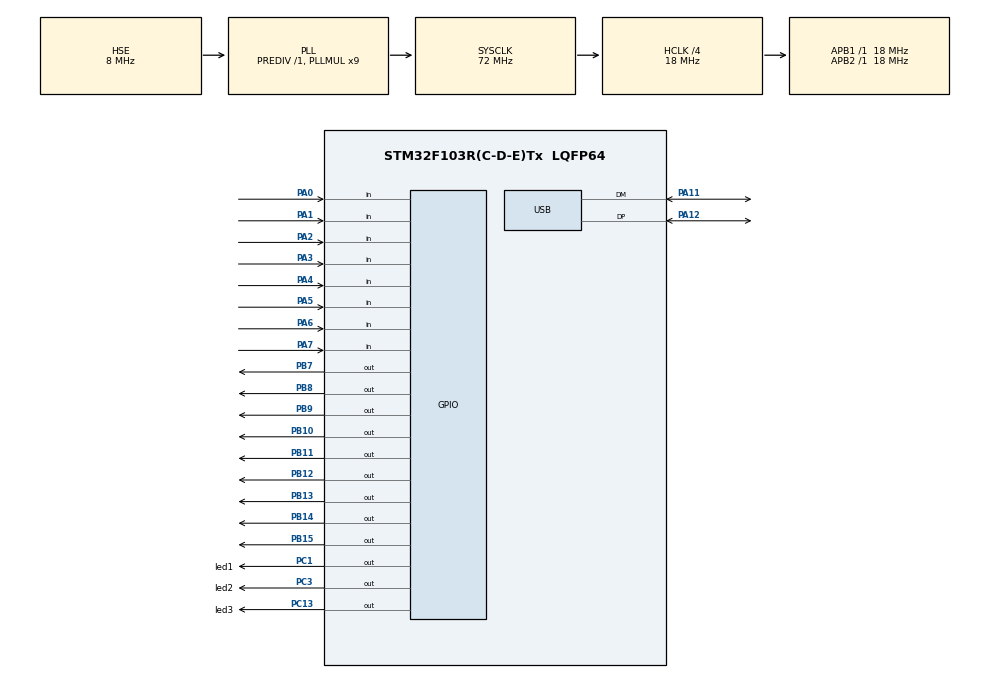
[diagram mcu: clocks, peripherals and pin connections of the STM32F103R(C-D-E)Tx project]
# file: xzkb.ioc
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Mcu.Family=STM32F1
Mcu.Name=STM32F103R(C-D-E)Tx
Mcu.Package=LQFP64
NVIC.PriorityGroup=NVIC_PRIORITYGROUP_4
NVIC.USB_LP_CAN1_RX0_IRQn=true\:0\:0\:false\:false\:true\:false\:true
PA0-WKUP.GPIO_PuPd=GPIO_PULLUP
PA0-WKUP.Signal=GPIO_Input
PA1.GPIO_PuPd=GPIO_PULLUP
PA1.Signal=GPIO_Input
PA11.Mode=Device
PA11.Signal=USB_DM
PA12.Mode=Device
PA12.Signal=USB_DP
PA13.Mode=Serial_Wire
PA13.Signal=SYS_JTMS-SWDIO
PA14.Mode=Serial_Wire
PA14.Signal=SYS_JTCK-SWCLK
PA2.GPIO_PuPd=GPIO_PULLUP
PA2.Signal=GPIO_Input
PA3.GPIO_PuPd=GPIO_PULLUP
PA3.Signal=GPIO_Input
PA4.GPIO_PuPd=GPIO_PULLUP
PA4.Signal=GPIO_Input
PA5.GPIO_PuPd=GPIO_PULLUP
PA5.Signal=GPIO_Input
PA6.GPIO_PuPd=GPIO_PULLUP
PA6.Signal=GPIO_Input
PA7.GPIO_PuPd=GPIO_PULLUP
PA7.Signal=GPIO_Input
PB10.Signal=GPIO_Output
PB11.Signal=GPIO_Output
PB12.Signal=GPIO_Output
PB13.Signal=GPIO_Output
PB14.Signal=GPIO_Output
PB15.Signal=GPIO_Output
PB7.Signal=GPIO_Output
PB8.Signal=GPIO_Output
PB9.Signal=GPIO_Output
PC1.GPIO_Label=led1
PC1.Signal=GPIO_Output
PC13-TAMPER-RTC.GPIO_Label=led3
PC13-TAMPER-RTC.Signal=GPIO_Output
PC3.GPIO_Label=led2
PC3.Signal=GPIO_Output
PD0-OSC_IN.Mode=HSE-External-Oscillator
PD0-OSC_IN.Signal=RCC_OSC_IN
PD1-OSC_OUT.Mode=HSE-External-Oscillator
PD1-OSC_OUT.Signal=RCC_OSC_OUT
ProjectManager.HeapSize=0x200
ProjectManager.StackSize=0x400
ProjectManager.TargetToolchain=STM32CubeIDE
RCC.AHBCLKDivider=RCC_SYSCLK_DIV4
RCC.AHBFreq_Value=18000000
RCC.APB1Freq_Value=18000000
RCC.APB1TimFreq_Value=18000000
RCC.APB2Freq_Value=18000000
RCC.APB2TimFreq_Value=18000000
RCC.HCLKFreq_Value=18000000
RCC.HSICalibrationValue=8
RCC.PLLMUL=RCC_PLL_MUL9
RCC.SYSCLKFreq_VALUE=72000000
RCC.SYSCLKSource=RCC_SYSCLKSOURCE_PLLCLK
RCC.USBFreq_Value=48000000
RCC.USBPrescaler=RCC_USBCLKSOURCE_PLL_DIV1_5
USB_DEVICE.CLASS_NAME_FS=HID
USB_DEVICE.MANUFACTURER_STRING=thelxz@163.com
USB_DEVICE.PRODUCT_STRING_HID_FS=XZ Keyboard
USB_DEVICE.VID=1155
USB_DEVICE.VirtualMode=Hid
USB_DEVICE.VirtualModeFS=Hid_FS
VP_USB_DEVICE_VS_USB_DEVICE_HID_FS.Mode=HID_FS
board=custom

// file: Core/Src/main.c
/* USER CODE BEGIN Header */
/**
  ******************************************************************************
  * @file           : main.c
  * @brief          : Main program body
  ******************************************************************************
  * @attention
  *
  * <h2><center>&copy; Copyright (c) 2020 STMicroelectronics.
  * All rights reserved.</center></h2>
  *
  * This software component is licensed by ST under Ultimate Liberty license
  * SLA0044, the "License"; You may not use this file except in compliance with
  * the License. You may obtain a copy of the License at:
  *                             www.st.com/SLA0044
  *
  ******************************************************************************
  */
/* USER CODE END Header */

#include "main.h"
#include "usb_device.h"

/* USER CODE BEGIN Includes */
#include "usbd_hid.h"
#include "keyboard.h"
/* USER CODE END Includes */

void SystemClock_Config(void);
static void MX_GPIO_Init(void);

/* USER CODE BEGIN 0 */
void HAL_Delay(uint32_t Delay)
{
  uint32_t tickstart = HAL_GetTick();
  uint32_t wait = Delay;

  /* Add a freq to guarantee minimum wait */
  if (wait < HAL_MAX_DELAY)
  {
    wait += (uint32_t)(uwTickFreq);
  }

  while ((HAL_GetTick() - tickstart) < wait)
  {
	  HAL_PWR_EnterSLEEPMode(PWR_MAINREGULATOR_ON, PWR_SLEEPENTRY_WFI);
  }
}
/* USER CODE END 0 */

int main(void)
{

  /* MCU Configuration--------------------------------------------------------*/

  /* Reset of all peripherals, Initializes the Flash interface and the Systick. */
  HAL_Init();

  /* Configure the system clock */
  SystemClock_Config();

  /* Initialize all configured peripherals */
  MX_GPIO_Init();
  MX_USB_DEVICE_Init();
  /* USER CODE BEGIN 2 */
  uint8_t reportLen = 8;
  uint8_t reportBuf[8] = {0};
  KeyState keystate;
  /* USER CODE END 2 */

  /* Infinite loop */
  while (1)
  {

    /* USER CODE BEGIN 3 */
	ScanKeyState(&keystate);
	GenReport(&keystate, reportBuf);
	USBD_HID_SendReport(&hUsbDeviceFS, reportBuf, reportLen);
	HAL_Delay(10);
  }
  /* USER CODE END 3 */
}

void SystemClock_Config(void)
{
  RCC_OscInitTypeDef RCC_OscInitStruct = {0};
  RCC_ClkInitTypeDef RCC_ClkInitStruct = {0};
  RCC_PeriphCLKInitTypeDef PeriphClkInit = {0};

  /** Initializes the CPU, AHB and APB busses clocks
  */
  RCC_OscInitStruct.OscillatorType = RCC_OSCILLATORTYPE_HSE;
  RCC_OscInitStruct.HSEState = RCC_HSE_ON;
  RCC_OscInitStruct.HSEPredivValue = RCC_HSE_PREDIV_DIV1;
  RCC_OscInitStruct.HSIState = RCC_HSI_ON;
  RCC_OscInitStruct.PLL.PLLState = RCC_PLL_ON;
  RCC_OscInitStruct.PLL.PLLSource = RCC_PLLSOURCE_HSE;
  RCC_OscInitStruct.PLL.PLLMUL = RCC_PLL_MUL9;
  if (HAL_RCC_OscConfig(&RCC_OscInitStruct) != HAL_OK)
  {
    Error_Handler();
  }
  /** Initializes the CPU, AHB and APB busses clocks
  */
  RCC_ClkInitStruct.ClockType = RCC_CLOCKTYPE_HCLK|RCC_CLOCKTYPE_SYSCLK
                              |RCC_CLOCKTYPE_PCLK1|RCC_CLOCKTYPE_PCLK2;
  RCC_ClkInitStruct.SYSCLKSource = RCC_SYSCLKSOURCE_PLLCLK;
  RCC_ClkInitStruct.AHBCLKDivider = RCC_SYSCLK_DIV4;
  RCC_ClkInitStruct.APB1CLKDivider = RCC_HCLK_DIV1;
  RCC_ClkInitStruct.APB2CLKDivider = RCC_HCLK_DIV1;

  if (HAL_RCC_ClockConfig(&RCC_ClkInitStruct, FLASH_LATENCY_2) != HAL_OK)
  {
    Error_Handler();
  }
  PeriphClkInit.PeriphClockSelection = RCC_PERIPHCLK_USB;
  PeriphClkInit.UsbClockSelection = RCC_USBCLKSOURCE_PLL_DIV1_5;
  if (HAL_RCCEx_PeriphCLKConfig(&PeriphClkInit) != HAL_OK)
  {
    Error_Handler();
  }
}

static void MX_GPIO_Init(void)
{
  GPIO_InitTypeDef GPIO_InitStruct = {0};

  /* GPIO Ports Clock Enable */
  __HAL_RCC_GPIOC_CLK_ENABLE();
  __HAL_RCC_GPIOD_CLK_ENABLE();
  __HAL_RCC_GPIOA_CLK_ENABLE();
  __HAL_RCC_GPIOB_CLK_ENABLE();

  /*Configure GPIO pin Output Level */
  HAL_GPIO_WritePin(GPIOC, led3_Pin|led1_Pin|led2_Pin, GPIO_PIN_RESET);

  /*Configure GPIO pin Output Level */
  HAL_GPIO_WritePin(GPIOB, GPIO_PIN_10|GPIO_PIN_11|GPIO_PIN_12|GPIO_PIN_13
                          |GPIO_PIN_14|GPIO_PIN_15|GPIO_PIN_7|GPIO_PIN_8
                          |GPIO_PIN_9, GPIO_PIN_RESET);

  /*Configure GPIO pins : led3_Pin led1_Pin led2_Pin */
  GPIO_InitStruct.Pin = led3_Pin|led1_Pin|led2_Pin;
  GPIO_InitStruct.Mode = GPIO_MODE_OUTPUT_PP;
  GPIO_InitStruct.Pull = GPIO_NOPULL;
  GPIO_InitStruct.Speed = GPIO_SPEED_FREQ_LOW;
  HAL_GPIO_Init(GPIOC, &GPIO_InitStruct);

  /*Configure GPIO pins : PA0 PA1 PA2 PA3
                           PA4 PA5 PA6 PA7 */
  GPIO_InitStruct.Pin = GPIO_PIN_0|GPIO_PIN_1|GPIO_PIN_2|GPIO_PIN_3
                          |GPIO_PIN_4|GPIO_PIN_5|GPIO_PIN_6|GPIO_PIN_7;
  GPIO_InitStruct.Mode = GPIO_MODE_INPUT;
  GPIO_InitStruct.Pull = GPIO_PULLUP;
  HAL_GPIO_Init(GPIOA, &GPIO_InitStruct);

  /*Configure GPIO pins : PB10 PB11 PB12 PB13
                           PB14 PB15 PB7 PB8
                           PB9 */
  GPIO_InitStruct.Pin = GPIO_PIN_10|GPIO_PIN_11|GPIO_PIN_12|GPIO_PIN_13
                          |GPIO_PIN_14|GPIO_PIN_15|GPIO_PIN_7|GPIO_PIN_8
                          |GPIO_PIN_9;
  GPIO_InitStruct.Mode = GPIO_MODE_OUTPUT_PP;
  GPIO_InitStruct.Pull = GPIO_NOPULL;
  GPIO_InitStruct.Speed = GPIO_SPEED_FREQ_LOW;
  HAL_GPIO_Init(GPIOB, &GPIO_InitStruct);

}

void Error_Handler(void)
{
}

/************************ (C) COPYRIGHT STMicroelectronics *****END OF FILE****/
